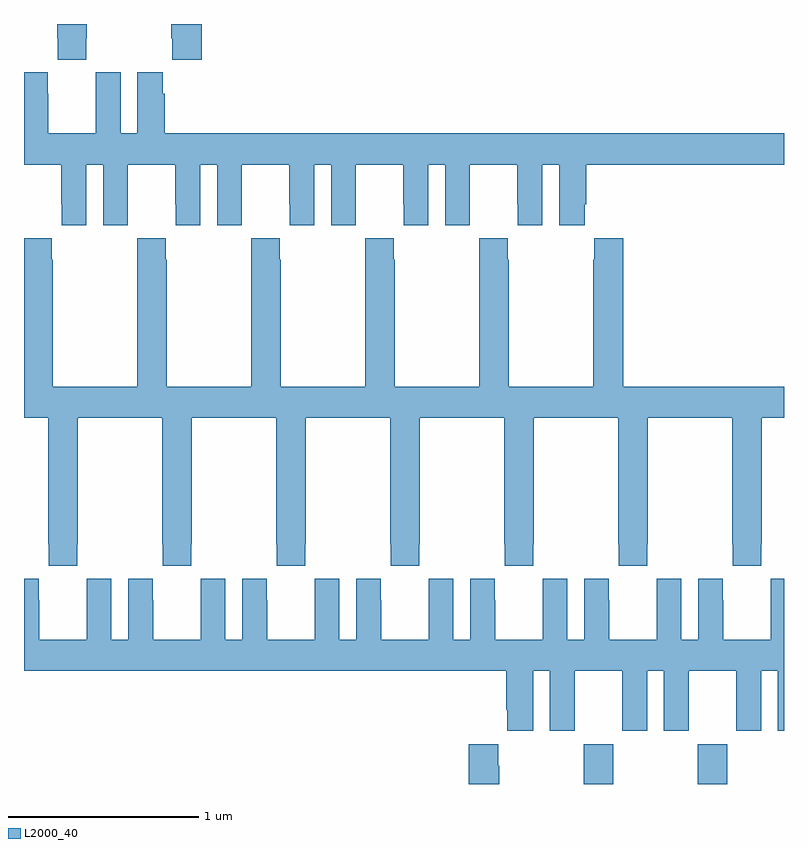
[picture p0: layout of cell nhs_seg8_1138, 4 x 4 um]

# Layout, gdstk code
import gdstk
lib = gdstk.Library(unit=1e-6, precision=1e-09)
def R(c, l, rs):  # rectangles x0, y0, x1, y1
    for r in rs: c.add(gdstk.rectangle(r[:2], r[2:], *l))
def P(c, l, *ps):  # polygons
    for p in ps: c.add(gdstk.Polygon(p, *l))
L2000_40 = (2000, 40)

nhs_seg8_1138 = lib.new_cell('nhs_seg8_1138')
R(nhs_seg8_1138, L2000_40, [(185.947,1119.9,186.102,1120.108), (186.547,1119.9,186.702,1120.108)])
P(nhs_seg8_1138, L2000_40, [(183.935,1123.9),(183.775,1123.9),(183.775,1123.825),(183.781,1123.825),(183.781,1123.713),(183.935,1123.713)],
  [(183.327,1123.825),(183.33,1123.825),(183.33,1123.9),(183.175,1123.9),(183.175,1123.825),(183.177,1123.825),(183.177,1123.713),(183.327,1123.713)],
  [(183.74,1123.532),(183.73,1123.532),(183.73,1123.645),(183.596,1123.645),(183.596,1123.324),(183.508,1123.324),(183.508,1123.645),(183.378,1123.645),(183.378,1123.532),(183.377,1123.532),(183.377,1123.324),(183.127,1123.324),(183.127,1123.532),(183.126,1123.532),(183.126,1123.645),(183,1123.645),(183,1123.16),(183.197,1123.16),(183.197,1122.952),(183.198,1122.952),(183.198,1122.84),(183.328,1122.84),(183.328,1123.16),(183.416,1123.16),(183.416,1122.84),(183.546,1122.84),(183.546,1122.952),(183.547,1122.952),(183.547,1123.16),(183.797,1123.16),(183.797,1122.952),(183.798,1122.952),(183.798,1122.84),(183.928,1122.84),(183.928,1123.16),(184.016,1123.16),(184.016,1122.84),(184.146,1122.84),(184.146,1122.952),(184.147,1122.952),(184.147,1123.16),(184.397,1123.16),(184.397,1122.952),(184.398,1122.952),(184.398,1122.84),(184.528,1122.84),(184.528,1123.16),(184.616,1123.16),(184.616,1122.84),(184.746,1122.84),(184.746,1122.952),(184.747,1122.952),(184.747,1123.16),(184.997,1123.16),(184.997,1122.952),(184.998,1122.952),(184.998,1122.84),(185.128,1122.84),(185.128,1123.16),(185.216,1123.16),(185.216,1122.84),(185.346,1122.84),(185.346,1122.952),(185.347,1122.952),(185.347,1123.16),(185.597,1123.16),(185.597,1122.952),(185.598,1122.952),(185.598,1122.84),(185.728,1122.84),(185.728,1123.16),(185.816,1123.16),(185.816,1122.84),(185.95,1122.84),(185.95,1122.952),(185.96,1122.952),(185.96,1123.16),(187,1123.16),(187,1123.324),(183.74,1123.324)],
  [(183.597,1122.659),(183.595,1122.659),(183.595,1121.992),(183.15,1121.992),(183.15,1122.659),(183.147,1122.659),(183.147,1122.772),(183,1122.772),(183,1121.828),(183.127,1121.828),(183.127,1121.161),(183.129,1121.161),(183.129,1121.049),(183.279,1121.049),(183.279,1121.161),(183.282,1121.161),(183.282,1121.828),(183.727,1121.828),(183.727,1121.161),(183.729,1121.161),(183.729,1121.049),(183.879,1121.049),(183.879,1121.161),(183.882,1121.161),(183.882,1121.828),(184.327,1121.828),(184.327,1121.161),(184.329,1121.161),(184.329,1121.049),(184.479,1121.049),(184.479,1121.161),(184.482,1121.161),(184.482,1121.828),(184.927,1121.828),(184.927,1121.161),(184.929,1121.161),(184.929,1121.049),(185.079,1121.049),(185.079,1121.161),(185.082,1121.161),(185.082,1121.828),(185.527,1121.828),(185.527,1121.161),(185.529,1121.161),(185.529,1121.049),(185.679,1121.049),(185.679,1121.161),(185.682,1121.161),(185.682,1121.828),(186.127,1121.828),(186.127,1121.161),(186.129,1121.161),(186.129,1121.049),(186.279,1121.049),(186.279,1121.161),(186.282,1121.161),(186.282,1121.828),(186.727,1121.828),(186.727,1121.161),(186.729,1121.161),(186.729,1121.049),(186.879,1121.049),(186.879,1121.161),(186.882,1121.161),(186.882,1121.828),(187,1121.828),(187,1121.992),(186.155,1121.992),(186.155,1122.772),(186.001,1122.772),(186.001,1122.659),(185.995,1122.659),(185.995,1121.992),(185.55,1121.992),(185.55,1122.659),(185.547,1122.659),(185.547,1122.772),(185.397,1122.772),(185.397,1122.659),(185.395,1122.659),(185.395,1121.992),(184.95,1121.992),(184.95,1122.659),(184.947,1122.659),(184.947,1122.772),(184.797,1122.772),(184.797,1122.659),(184.795,1122.659),(184.795,1121.992),(184.35,1121.992),(184.35,1122.659),(184.347,1122.659),(184.347,1122.772),(184.197,1122.772),(184.197,1122.659),(184.195,1122.659),(184.195,1121.992),(183.75,1121.992),(183.75,1122.659),(183.747,1122.659),(183.747,1122.772),(183.597,1122.772)],
  [(185.68,1120.496),(185.768,1120.496),(185.768,1120.179),(185.899,1120.179),(185.899,1120.496),(186.149,1120.496),(186.149,1120.179),(186.28,1120.179),(186.28,1120.496),(186.368,1120.496),(186.368,1120.179),(186.499,1120.179),(186.499,1120.496),(186.749,1120.496),(186.749,1120.179),(186.88,1120.179),(186.88,1120.496),(186.968,1120.496),(186.968,1120.179),(187,1120.179),(187,1120.981),(186.93,1120.981),(186.93,1120.868),(186.929,1120.868),(186.929,1120.66),(186.679,1120.66),(186.679,1120.868),(186.678,1120.868),(186.678,1120.981),(186.548,1120.981),(186.548,1120.66),(186.46,1120.66),(186.46,1120.981),(186.33,1120.981),(186.33,1120.868),(186.329,1120.868),(186.329,1120.66),(186.079,1120.66),(186.079,1120.868),(186.078,1120.868),(186.078,1120.981),(185.948,1120.981),(185.948,1120.66),(185.86,1120.66),(185.86,1120.981),(185.73,1120.981),(185.73,1120.868),(185.729,1120.868),(185.729,1120.66),(185.479,1120.66),(185.479,1120.868),(185.478,1120.868),(185.478,1120.981),(185.348,1120.981),(185.348,1120.66),(185.26,1120.66),(185.26,1120.981),(185.13,1120.981),(185.13,1120.868),(185.129,1120.868),(185.129,1120.66),(184.879,1120.66),(184.879,1120.868),(184.878,1120.868),(184.878,1120.981),(184.748,1120.981),(184.748,1120.66),(184.66,1120.66),(184.66,1120.981),(184.53,1120.981),(184.53,1120.868),(184.529,1120.868),(184.529,1120.66),(184.279,1120.66),(184.279,1120.868),(184.278,1120.868),(184.278,1120.981),(184.148,1120.981),(184.148,1120.66),(184.06,1120.66),(184.06,1120.981),(183.93,1120.981),(183.93,1120.868),(183.929,1120.868),(183.929,1120.66),(183.679,1120.66),(183.679,1120.868),(183.678,1120.868),(183.678,1120.981),(183.548,1120.981),(183.548,1120.66),(183.46,1120.66),(183.46,1120.981),(183.33,1120.981),(183.33,1120.868),(183.329,1120.868),(183.329,1120.66),(183.079,1120.66),(183.079,1120.868),(183.078,1120.868),(183.078,1120.981),(183,1120.981),(183,1120.496),(185.537,1120.496),(185.537,1120.291),(185.543,1120.291),(185.543,1120.179),(185.68,1120.179)],
  [(185.502,1119.995),(185.497,1119.995),(185.497,1120.108),(185.342,1120.108),(185.342,1119.9),(185.502,1119.9)])

lib.write_gds('nhs_seg8_1138.gds')
